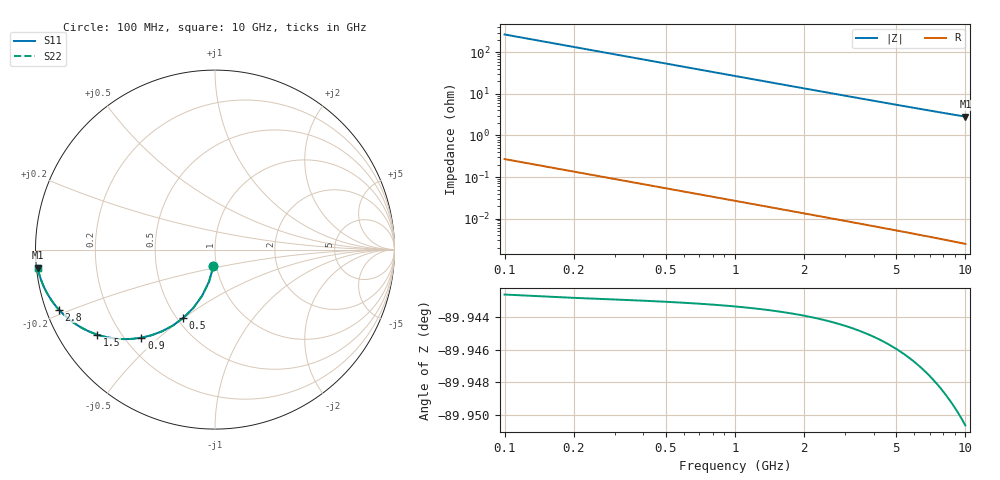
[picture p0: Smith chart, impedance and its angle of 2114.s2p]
# Hz S RI R 50.00
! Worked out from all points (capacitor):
!   100 points, 100 MHz to 10 GHz, reference 50 ohm
!   read as one part in shunt: C = 5.9 pF near 100 MHz
!   lowest |Z| = 2.85 ohm at 10 GHz (marker M1)
!   S11 on the Smith chart (normalised r, x): 100 MHz: 0.97, -0.18; 500 MHz: 0.54, -0.50; 900 MHz: 0.27, -0.44; 1.5 GHz: 0.12, -0.32; 2.8 GHz: 0.04, -0.19; 10 GHz: 0.00, -0.05
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1e8  -0.00858 -0.0917  0.9914 -0.0919  0.9914 -0.0919  -0.00858 -0.0917
2e8  -0.0333 -0.1789  0.9667 -0.1791  0.9667 -0.1791  -0.0333 -0.1789
3e8  -0.0718 -0.2576  0.9281 -0.2579  0.9281 -0.2579  -0.0718 -0.2576
4e8  -0.1208 -0.3252  0.8791 -0.3257  0.8791 -0.3257  -0.1208 -0.3252
5e8  -0.1767 -0.3806  0.8233 -0.3812  0.8233 -0.3812  -0.1767 -0.3806
6e8  -0.2359 -0.4237  0.764 -0.4244  0.764 -0.4244  -0.2359 -0.4237
7e8  -0.2958 -0.4555  0.7042 -0.4563  0.7042 -0.4563  -0.2958 -0.4555
8e8  -0.3541 -0.4773  0.6458 -0.4782  0.6458 -0.4782  -0.3541 -0.4773
9e8  -0.4095 -0.4907  0.5904 -0.4918  0.5904 -0.4918  -0.4095 -0.4907
1e9  -0.4611 -0.4974  0.5388 -0.4986  0.5388 -0.4986  -0.4611 -0.4974
1.2e9  -0.5518 -0.4961  0.4482 -0.4975  0.4482 -0.4975  -0.5518 -0.4961
1.5e9  -0.6576 -0.4731  0.3424 -0.4749  0.3424 -0.4749  -0.6576 -0.4731
1.8e9  -0.7342 -0.4402  0.2658 -0.4423  0.2658 -0.4423  -0.7342 -0.4402
2e9  -0.7731 -0.4172  0.2269 -0.4195  0.2269 -0.4195  -0.7731 -0.4172
2.3e9  -0.8181 -0.3839  0.1818 -0.3866  0.1818 -0.3866  -0.8181 -0.3839
2.8e9  -0.8694 -0.3348  0.1306 -0.3381  0.1306 -0.3381  -0.8694 -0.3348
3.4e9  -0.9073 -0.2874  0.0926 -0.2914  0.0926 -0.2914  -0.9073 -0.2874
4.2e9  -0.9372 -0.2396  0.0628 -0.2446  0.0628 -0.2446  -0.9372 -0.2396
5.1e9  -0.9564 -0.2005  0.0435 -0.2066  0.0435 -0.2066  -0.9564 -0.2005
6.7e9  -0.9743 -0.1536  0.0256 -0.1617  0.0256 -0.1617  -0.9743 -0.1536
8.4e9  -0.9835 -0.1214  0.0164 -0.1317  0.0164 -0.1317  -0.9835 -0.1214
1e10  -0.9884 -0.1002  0.0115 -0.1126  0.0115 -0.1126  -0.9884 -0.1002
